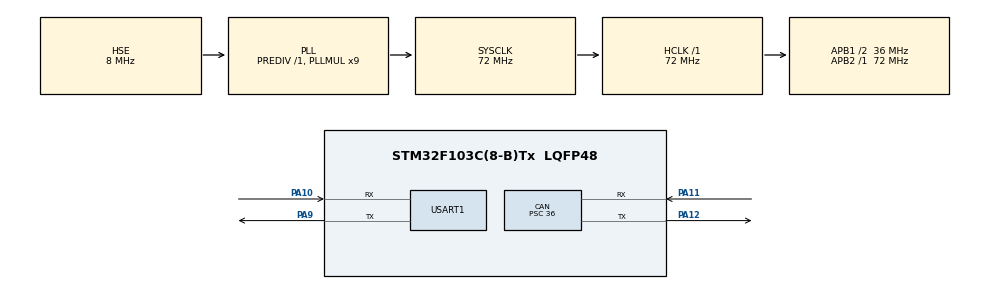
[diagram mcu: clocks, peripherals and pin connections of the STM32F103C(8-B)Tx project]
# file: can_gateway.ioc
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CAN.ABOM=ENABLE
CAN.AWUM=ENABLE
CAN.BS1=CAN_BS1_6TQ
CAN.BS2=CAN_BS2_3TQ
CAN.CalculateBaudRate=100000
CAN.CalculateTimeBit=10000
CAN.CalculateTimeQuantum=1000.0
CAN.Mode=CAN_MODE_NORMAL
CAN.Prescaler=36
Mcu.Family=STM32F1
Mcu.Name=STM32F103C(8-B)Tx
Mcu.Package=LQFP48
NVIC.PriorityGroup=NVIC_PRIORITYGROUP_4
NVIC.USART1_IRQn=true\:0\:0\:false\:false\:true\:true\:true\:true
PA10.Mode=Asynchronous
PA10.Signal=USART1_RX
PA11.Mode=CAN_Activate
PA11.Signal=CAN_RX
PA12.Mode=CAN_Activate
PA12.Signal=CAN_TX
PA13.Mode=Serial_Wire
PA13.Signal=SYS_JTMS-SWDIO
PA14.Mode=Serial_Wire
PA14.Signal=SYS_JTCK-SWCLK
PA9.Mode=Asynchronous
PA9.Signal=USART1_TX
PC14-OSC32_IN.Mode=LSE-External-Oscillator
PC14-OSC32_IN.Signal=RCC_OSC32_IN
PC15-OSC32_OUT.Mode=LSE-External-Oscillator
PC15-OSC32_OUT.Signal=RCC_OSC32_OUT
PD0-OSC_IN.Mode=HSE-External-Oscillator
PD0-OSC_IN.Signal=RCC_OSC_IN
PD1-OSC_OUT.Mode=HSE-External-Oscillator
PD1-OSC_OUT.Signal=RCC_OSC_OUT
ProjectManager.HeapSize=0x200
ProjectManager.StackSize=0x400
ProjectManager.TargetToolchain=MDK-ARM V5.32
RCC.AHBFreq_Value=72000000
RCC.APB1CLKDivider=RCC_HCLK_DIV2
RCC.APB1Freq_Value=36000000
RCC.APB1TimFreq_Value=72000000
RCC.APB2Freq_Value=72000000
RCC.APB2TimFreq_Value=72000000
RCC.HCLKFreq_Value=72000000
RCC.PLLMUL=RCC_PLL_MUL9
RCC.PLLSourceVirtual=RCC_PLLSOURCE_HSE
RCC.SYSCLKFreq_VALUE=72000000
RCC.SYSCLKSource=RCC_SYSCLKSOURCE_PLLCLK
RCC.USBFreq_Value=72000000
USART1.VirtualMode=VM_ASYNC
board=custom

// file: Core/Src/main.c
/* USER CODE BEGIN Header */
/**
 ******************************************************************************
 * @file           : main.c
 * @brief          : Main program body
 ******************************************************************************
 * @attention
 *
 * Copyright (c) 2025 STMicroelectronics.
 * All rights reserved.
 *
 * This software is licensed under terms that can be found in the LICENSE file
 * in the root directory of this software component.
 * If no LICENSE file comes with this software, it is provided AS-IS.
 *
 ******************************************************************************
 */
/* USER CODE END Header */
#include "main.h"
#include "can.h"
#include "usart.h"
#include "gpio.h"

/* USER CODE BEGIN Includes */
#include "Int_CAN.h"
#include "string.h"
/* USER CODE END Includes */

void SystemClock_Config(void);

/* USER CODE BEGIN 0 */
uint8_t uart_receive_buff[128];
uint8_t uart_receive_len = 0;

void HAL_UARTEx_RxEventCallback(UART_HandleTypeDef *huart, uint16_t Size)
{
  if (huart->Instance == USART1)
  {
    uart_receive_len = Size;
    HAL_UARTEx_ReceiveToIdle_IT(&huart1, uart_receive_buff, 128);
  }
}

/* USER CODE END 0 */

int main(void)
{

  /* MCU Configuration--------------------------------------------------------*/

  /* Reset of all peripherals, Initializes the Flash interface and the Systick. */
  HAL_Init();

  /* Configure the system clock */
  SystemClock_Config();

  /* Initialize all configured peripherals */
  MX_GPIO_Init();
  MX_CAN_Init();
  MX_USART1_UART_Init();
  /* USER CODE BEGIN 2 */
  printf("hello\n");

  Int_CAN_Init();

  // 调用中断接收串口数据
  HAL_UARTEx_ReceiveToIdle_IT(&huart1, uart_receive_buff, 128);
  uint8_t cmd[8] = {0};
  /* USER CODE END 2 */

  /* Infinite loop */
  /* USER CODE BEGIN WHILE */
  while (1)
  {
    // 循环处理接收到的数据
    if (uart_receive_len != 0)
    {
      // 判断串口接收到的指令是开关充放电
      if (strstr((char *)uart_receive_buff, "C:1") != NULL)
      {
        // 开启充电
        cmd[0] = '1'; // 充电
        cmd[1] = '1'; // 开启
        printf("开启充电\n");
        Int_CAN_Send(0, cmd, 8);
      }
      else if (strstr((char *)uart_receive_buff, "C:0") != NULL)
      {
        // 关闭充电
        cmd[0] = '1'; // 充电
        cmd[1] = '0'; // 关闭
        printf("关闭充电\n");
        Int_CAN_Send(0, cmd, 8);
      }
      else if (strstr((char *)uart_receive_buff, "D:1") != NULL)
      {
        // 开启放电
        cmd[0] = '0'; // 放电
        cmd[1] = '1'; // 开启
        printf("开启放电\n");
        Int_CAN_Send(0, cmd, 8);
      }
      else if (strstr((char *)uart_receive_buff, "D:0") != NULL)
      {
        // 关闭放电
        cmd[0] = '0'; // 放电
        cmd[1] = '0'; // 开启
        printf("关闭放电\n");
        Int_CAN_Send(0, cmd, 8);
      }
      uart_receive_len = 0;
    }

    /* USER CODE END WHILE */

  }
}

void SystemClock_Config(void)
{
  RCC_OscInitTypeDef RCC_OscInitStruct = {0};
  RCC_ClkInitTypeDef RCC_ClkInitStruct = {0};

  /** Initializes the RCC Oscillators according to the specified parameters
   * in the RCC_OscInitTypeDef structure.
   */
  RCC_OscInitStruct.OscillatorType = RCC_OSCILLATORTYPE_HSE;
  RCC_OscInitStruct.HSEState = RCC_HSE_ON;
  RCC_OscInitStruct.HSEPredivValue = RCC_HSE_PREDIV_DIV1;
  RCC_OscInitStruct.HSIState = RCC_HSI_ON;
  RCC_OscInitStruct.PLL.PLLState = RCC_PLL_ON;
  RCC_OscInitStruct.PLL.PLLSource = RCC_PLLSOURCE_HSE;
  RCC_OscInitStruct.PLL.PLLMUL = RCC_PLL_MUL9;
  if (HAL_RCC_OscConfig(&RCC_OscInitStruct) != HAL_OK)
  {
    Error_Handler();
  }

  /** Initializes the CPU, AHB and APB buses clocks
   */
  RCC_ClkInitStruct.ClockType = RCC_CLOCKTYPE_HCLK | RCC_CLOCKTYPE_SYSCLK | RCC_CLOCKTYPE_PCLK1 | RCC_CLOCKTYPE_PCLK2;
  RCC_ClkInitStruct.SYSCLKSource = RCC_SYSCLKSOURCE_PLLCLK;
  RCC_ClkInitStruct.AHBCLKDivider = RCC_SYSCLK_DIV1;
  RCC_ClkInitStruct.APB1CLKDivider = RCC_HCLK_DIV2;
  RCC_ClkInitStruct.APB2CLKDivider = RCC_HCLK_DIV1;

  if (HAL_RCC_ClockConfig(&RCC_ClkInitStruct, FLASH_LATENCY_2) != HAL_OK)
  {
    Error_Handler();
  }
}

void Error_Handler(void)
{
  __disable_irq();
  while (1)
  {
  }
}
